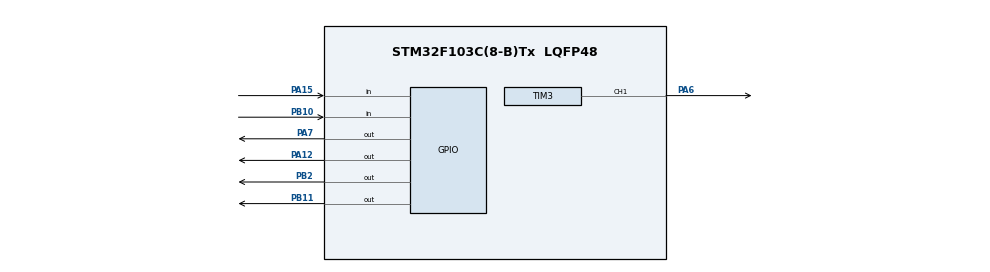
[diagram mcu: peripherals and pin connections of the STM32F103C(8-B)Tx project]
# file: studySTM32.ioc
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Mcu.Family=STM32F1
Mcu.Name=STM32F103C(8-B)Tx
Mcu.Package=LQFP48
NVIC.PriorityGroup=NVIC_PRIORITYGROUP_4
NVIC.TIM2_IRQn=true\:0\:0\:false\:false\:true\:true\:true\:true
PA12.Signal=GPIO_Output
PA13.Mode=Serial_Wire
PA13.Signal=SYS_JTMS-SWDIO
PA14.Mode=Serial_Wire
PA14.Signal=SYS_JTCK-SWCLK
PA15.GPIO_PuPd=GPIO_NOPULL
PA15.Signal=GPIO_Input
PA6.Signal=S_TIM3_CH1
PA7.Signal=GPIO_Output
PB10.Signal=GPIO_Input
PB11.Signal=GPIO_Output
PB2.Signal=GPIO_Output
ProjectManager.HeapSize=0x200
ProjectManager.StackSize=0x400
ProjectManager.TargetToolchain=STM32CubeIDE
RCC.APB1Freq_Value=8000000
RCC.APB2Freq_Value=8000000
SH.S_TIM3_CH1.0=TIM3_CH1,PWM Generation1 CH1
TIM1.AutoReloadPreload=TIM_AUTORELOAD_PRELOAD_ENABLE
TIM1.Prescaler=7
TIM2.AutoReloadPreload=TIM_AUTORELOAD_PRELOAD_ENABLE
TIM2.Period=499
TIM2.Prescaler=7999
TIM3.AutoReloadPreload=TIM_AUTORELOAD_PRELOAD_ENABLE
TIM3.Channel-PWM\ Generation1\ CH1=TIM_CHANNEL_1
TIM3.Period=999
TIM3.Prescaler=7
TIM3.Pulse-PWM\ Generation1\ CH1=500
VP_TIM1_VS_ClockSourceINT.Mode=Internal
VP_TIM2_VS_ClockSourceINT.Mode=Internal
board=custom

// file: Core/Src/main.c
/* USER CODE BEGIN Header */
/**
  ******************************************************************************
  * @file           : main.c
  * @brief          : Main program body
  ******************************************************************************
  * @attention
  *
  * Copyright (c) 2026 STMicroelectronics.
  * All rights reserved.
  *
  * This software is licensed under terms that can be found in the LICENSE file
  * in the root directory of this software component.
  * If no LICENSE file comes with this software, it is provided AS-IS.
  *
  ******************************************************************************
  */
/* USER CODE END Header */
#include "main.h"

/* USER CODE BEGIN PTD */
typedef struct
{
	GPIO_TypeDef *port;
	uint16_t pin;

	uint8_t stable;
	uint8_t last_read;
	uint32_t last_change_time;
	uint8_t pressed_event;
}Button;

typedef struct
{
    uint16_t frequency;
    uint16_t duration;
} Note;
/* USER CODE END PTD */

/* USER CODE BEGIN PD */
#define REST 0
#define NOTE_COUNT (sizeof(melody) / sizeof(melody[0]))

/* Tan so (Hz) */
#define NOTE_C4  262
#define NOTE_CS4 277
#define NOTE_D4  294
#define NOTE_DS4 311
#define NOTE_E4  330
#define NOTE_F4  349
#define NOTE_FS4 370
#define NOTE_G4  392
#define NOTE_GS4 415
#define NOTE_A4  440
#define NOTE_AS4 466
#define NOTE_B4  494
#define NOTE_C5  523
#define NOTE_CS5 554
#define NOTE_D5  587
#define NOTE_DS5 622
#define NOTE_E5  659
#define NOTE_F5  698
#define NOTE_FS5 740
#define NOTE_G5  784
#define NOTE_GS5 831
#define NOTE_A5  880
#define NOTE_AS5 932
#define NOTE_B5  988

/* Do dai not theo BPM */
#define BPM            140
#define BEAT_MS        (60000 / BPM)
#define DUR_WHOLE      (BEAT_MS * 4)
#define DUR_HALF       (BEAT_MS * 2)
#define DUR_QUARTER    (BEAT_MS)
#define DUR_EIGHTH     (BEAT_MS / 2)
#define DUR_SIXTEENTH  (BEAT_MS / 4)

/* He so keo dai thoi gian: 1 = nguyen goc, 2 = cham gap doi */
#define SLOW 2
/* USER CODE END PD */

TIM_HandleTypeDef htim1;
TIM_HandleTypeDef htim2;
TIM_HandleTypeDef htim3;

/* USER CODE BEGIN PV */
Button btn1 = {
		.port = BTN1_PORT,
		.pin = BTN1_PIN,
		.stable = 1,
		.last_read =1,
		.last_change_time =0,
		.pressed_event =0

};

Button btn2 = {
		.port = BTN2_PORT,
		.pin = BTN2_PIN,
		.stable = 1,
		.last_read =1,
		.last_change_time =0,
		.pressed_event =0

};

Note melody [] =
{
		    {NOTE_E4, 300},
		    {NOTE_G4, 300},
		    {NOTE_A4, 600},
		    {REST,    200},

		    {NOTE_G4, 300},
		    {NOTE_E4, 300},
		    {NOTE_D4, 600},
		    {REST,    300},

		    {NOTE_E4, 300},
		    {NOTE_G4, 300},
		    {NOTE_C5, 800},
		    {REST,    500}};

/* USER CODE END PV */

void SystemClock_Config(void);
static void MX_GPIO_Init(void);
static void MX_TIM2_Init(void);
static void MX_TIM1_Init(void);
static void MX_TIM3_Init(void);
/* USER CODE BEGIN PFP */
void Button_Update(Button *btn);
void delay_us(uint16_t time);
void Buzzer_PlayNote(uint16_t frequency);
void Melody_Task(void);
/* USER CODE END PFP */

int main(void)
{

  /* MCU Configuration--------------------------------------------------------*/

  /* Reset of all peripherals, Initializes the Flash interface and the Systick. */
  HAL_Init();

  /* Configure the system clock */
  SystemClock_Config();

  /* Initialize all configured peripherals */
  MX_GPIO_Init();
  MX_TIM2_Init();
  MX_TIM1_Init();
  MX_TIM3_Init();
  /* USER CODE BEGIN 2 */
  HAL_TIM_Base_Start (&htim1);
  HAL_TIM_Base_Start_IT (&htim2);
  HAL_TIM_PWM_Start(&htim3, TIM_CHANNEL_1);
  /* USER CODE END 2 */

  /* Infinite loop */
  while (1)
  {

    /* USER CODE BEGIN 3 */
	Button_Update (&btn1);
	Button_Update (&btn2);
    if (btn1.pressed_event)
    {
    	HAL_GPIO_TogglePin (LED1_PORT, LED1_PIN);
    }

    if (btn2.pressed_event)
    {
    	HAL_GPIO_TogglePin (LED2_PORT, LED2_PIN);
    }

    Melody_Task();
/*
    HAL_GPIO_WritePin (LEDT1_PORT, LEDT1_PIN, GPIO_PIN_SET );
    delay_us (50000);
    HAL_GPIO_WritePin (LEDT1_PORT, LEDT1_PIN, GPIO_PIN_RESET);
    delay_us (50000);
*/

  }
  /* USER CODE END 3 */
}

void SystemClock_Config(void)
{
  RCC_OscInitTypeDef RCC_OscInitStruct = {0};
  RCC_ClkInitTypeDef RCC_ClkInitStruct = {0};

  /** Initializes the RCC Oscillators according to the specified parameters
  * in the RCC_OscInitTypeDef structure.
  */
  RCC_OscInitStruct.OscillatorType = RCC_OSCILLATORTYPE_HSI;
  RCC_OscInitStruct.HSIState = RCC_HSI_ON;
  RCC_OscInitStruct.HSICalibrationValue = RCC_HSICALIBRATION_DEFAULT;
  RCC_OscInitStruct.PLL.PLLState = RCC_PLL_NONE;
  if (HAL_RCC_OscConfig(&RCC_OscInitStruct) != HAL_OK)
  {
    Error_Handler();
  }

  /** Initializes the CPU, AHB and APB buses clocks
  */
  RCC_ClkInitStruct.ClockType = RCC_CLOCKTYPE_HCLK|RCC_CLOCKTYPE_SYSCLK
                              |RCC_CLOCKTYPE_PCLK1|RCC_CLOCKTYPE_PCLK2;
  RCC_ClkInitStruct.SYSCLKSource = RCC_SYSCLKSOURCE_HSI;
  RCC_ClkInitStruct.AHBCLKDivider = RCC_SYSCLK_DIV1;
  RCC_ClkInitStruct.APB1CLKDivider = RCC_HCLK_DIV1;
  RCC_ClkInitStruct.APB2CLKDivider = RCC_HCLK_DIV1;

  if (HAL_RCC_ClockConfig(&RCC_ClkInitStruct, FLASH_LATENCY_0) != HAL_OK)
  {
    Error_Handler();
  }
}

static void MX_TIM1_Init(void)
{

  TIM_ClockConfigTypeDef sClockSourceConfig = {0};
  TIM_MasterConfigTypeDef sMasterConfig = {0};

  htim1.Instance = TIM1;
  htim1.Init.Prescaler = 7;
  htim1.Init.CounterMode = TIM_COUNTERMODE_UP;
  htim1.Init.Period = 65535;
  htim1.Init.ClockDivision = TIM_CLOCKDIVISION_DIV1;
  htim1.Init.RepetitionCounter = 0;
  htim1.Init.AutoReloadPreload = TIM_AUTORELOAD_PRELOAD_ENABLE;
  if (HAL_TIM_Base_Init(&htim1) != HAL_OK)
  {
    Error_Handler();
  }
  sClockSourceConfig.ClockSource = TIM_CLOCKSOURCE_INTERNAL;
  if (HAL_TIM_ConfigClockSource(&htim1, &sClockSourceConfig) != HAL_OK)
  {
    Error_Handler();
  }
  sMasterConfig.MasterOutputTrigger = TIM_TRGO_RESET;
  sMasterConfig.MasterSlaveMode = TIM_MASTERSLAVEMODE_DISABLE;
  if (HAL_TIMEx_MasterConfigSynchronization(&htim1, &sMasterConfig) != HAL_OK)
  {
    Error_Handler();
  }

}

static void MX_TIM2_Init(void)
{

  TIM_ClockConfigTypeDef sClockSourceConfig = {0};
  TIM_MasterConfigTypeDef sMasterConfig = {0};

  htim2.Instance = TIM2;
  htim2.Init.Prescaler = 7999;
  htim2.Init.CounterMode = TIM_COUNTERMODE_UP;
  htim2.Init.Period = 499;
  htim2.Init.ClockDivision = TIM_CLOCKDIVISION_DIV1;
  htim2.Init.AutoReloadPreload = TIM_AUTORELOAD_PRELOAD_ENABLE;
  if (HAL_TIM_Base_Init(&htim2) != HAL_OK)
  {
    Error_Handler();
  }
  sClockSourceConfig.ClockSource = TIM_CLOCKSOURCE_INTERNAL;
  if (HAL_TIM_ConfigClockSource(&htim2, &sClockSourceConfig) != HAL_OK)
  {
    Error_Handler();
  }
  sMasterConfig.MasterOutputTrigger = TIM_TRGO_RESET;
  sMasterConfig.MasterSlaveMode = TIM_MASTERSLAVEMODE_DISABLE;
  if (HAL_TIMEx_MasterConfigSynchronization(&htim2, &sMasterConfig) != HAL_OK)
  {
    Error_Handler();
  }

}

static void MX_TIM3_Init(void)
{

  TIM_MasterConfigTypeDef sMasterConfig = {0};
  TIM_OC_InitTypeDef sConfigOC = {0};

  htim3.Instance = TIM3;
  htim3.Init.Prescaler = 7;
  htim3.Init.CounterMode = TIM_COUNTERMODE_UP;
  htim3.Init.Period = 999;
  htim3.Init.ClockDivision = TIM_CLOCKDIVISION_DIV1;
  htim3.Init.AutoReloadPreload = TIM_AUTORELOAD_PRELOAD_ENABLE;
  if (HAL_TIM_PWM_Init(&htim3) != HAL_OK)
  {
    Error_Handler();
  }
  sMasterConfig.MasterOutputTrigger = TIM_TRGO_RESET;
  sMasterConfig.MasterSlaveMode = TIM_MASTERSLAVEMODE_DISABLE;
  if (HAL_TIMEx_MasterConfigSynchronization(&htim3, &sMasterConfig) != HAL_OK)
  {
    Error_Handler();
  }
  sConfigOC.OCMode = TIM_OCMODE_PWM1;
  sConfigOC.Pulse = 500;
  sConfigOC.OCPolarity = TIM_OCPOLARITY_HIGH;
  sConfigOC.OCFastMode = TIM_OCFAST_DISABLE;
  if (HAL_TIM_PWM_ConfigChannel(&htim3, &sConfigOC, TIM_CHANNEL_1) != HAL_OK)
  {
    Error_Handler();
  }
  HAL_TIM_MspPostInit(&htim3);

}

static void MX_GPIO_Init(void)
{
  GPIO_InitTypeDef GPIO_InitStruct = {0};

  /* GPIO Ports Clock Enable */
  __HAL_RCC_GPIOA_CLK_ENABLE();
  __HAL_RCC_GPIOB_CLK_ENABLE();

  /*Configure GPIO pin Output Level */
  HAL_GPIO_WritePin(GPIOA, GPIO_PIN_7|GPIO_PIN_12, GPIO_PIN_RESET);

  /*Configure GPIO pin Output Level */
  HAL_GPIO_WritePin(GPIOB, GPIO_PIN_2|GPIO_PIN_11, GPIO_PIN_RESET);

  /*Configure GPIO pins : PA7 PA12 */
  GPIO_InitStruct.Pin = GPIO_PIN_7|GPIO_PIN_12;
  GPIO_InitStruct.Mode = GPIO_MODE_OUTPUT_PP;
  GPIO_InitStruct.Pull = GPIO_NOPULL;
  GPIO_InitStruct.Speed = GPIO_SPEED_FREQ_LOW;
  HAL_GPIO_Init(GPIOA, &GPIO_InitStruct);

  /*Configure GPIO pins : PB2 PB11 */
  GPIO_InitStruct.Pin = GPIO_PIN_2|GPIO_PIN_11;
  GPIO_InitStruct.Mode = GPIO_MODE_OUTPUT_PP;
  GPIO_InitStruct.Pull = GPIO_NOPULL;
  GPIO_InitStruct.Speed = GPIO_SPEED_FREQ_LOW;
  HAL_GPIO_Init(GPIOB, &GPIO_InitStruct);

  /*Configure GPIO pin : PB10 */
  GPIO_InitStruct.Pin = GPIO_PIN_10;
  GPIO_InitStruct.Mode = GPIO_MODE_INPUT;
  GPIO_InitStruct.Pull = GPIO_NOPULL;
  HAL_GPIO_Init(GPIOB, &GPIO_InitStruct);

  /*Configure GPIO pin : PA15 */
  GPIO_InitStruct.Pin = GPIO_PIN_15;
  GPIO_InitStruct.Mode = GPIO_MODE_INPUT;
  GPIO_InitStruct.Pull = GPIO_NOPULL;
  HAL_GPIO_Init(GPIOA, &GPIO_InitStruct);

}

/* USER CODE BEGIN 4 */
void Button_Update (Button *btn)
{
	uint8_t reading = HAL_GPIO_ReadPin (btn->port, btn->pin);
	btn->pressed_event =0;

	if (reading != btn->last_read)
	{
		btn->last_change_time = HAL_GetTick();
	}

	if (HAL_GetTick() - btn->last_change_time >20)
	{
		if (btn->stable != reading)
		{
			btn->stable = reading;
			if (btn->stable == 0)
			{
				btn->pressed_event=1;
			}
		}
	}
	btn->last_read = reading;
}

void HAL_TIM_PeriodElapsedCallback (TIM_HandleTypeDef *htim)
{
	if (htim->Instance == TIM2)
	{
		HAL_GPIO_TogglePin (LEDT2_PORT, LEDT2_PIN);
	}
}

void delay_us (uint16_t time)
{
	__HAL_TIM_SET_COUNTER(&htim1,0);
	while (__HAL_TIM_GET_COUNTER(&htim1) < time);
}

void Buzzer_PlayNote(uint16_t frequency)
{
    if (frequency == REST)
    {
        __HAL_TIM_SET_COMPARE(&htim3, TIM_CHANNEL_1, 0);
        return;
    }

    // TIM3 counter clock = 1 MHz
    uint32_t arr = 1000000UL / frequency - 1;

    __HAL_TIM_SET_AUTORELOAD(&htim3, arr);
    __HAL_TIM_SET_COMPARE(&htim3, TIM_CHANNEL_1, (arr + 1) *70 / 100);

    // Cap nhat ARR/CCR preload
    htim3.Instance->EGR = TIM_EGR_UG;

    // Dua bo dem ve 0
    __HAL_TIM_SET_COUNTER(&htim3, 0);
}

void Melody_Task(void)
{
	static uint32_t t0 = 0, idx = 0;
	static uint8_t started = 0, in_gap = 0;

	uint32_t now = HAL_GetTick();

	if (!started)
	{
		Buzzer_PlayNote(melody[idx].frequency);
		t0 = now;
		started = 1;
		in_gap = 0;
		return;
	}

	uint32_t dur = (uint32_t)melody[idx].duration * SLOW;
	uint32_t gap = dur / 10;

	if (!in_gap && melody[idx].frequency != REST && (now - t0) >= (dur - gap))
	{
		Buzzer_PlayNote(REST);
		in_gap = 1;
	}

	if ((now - t0) >= dur)
	{
		if (++idx >= NOTE_COUNT) idx = 0;   /* lap lai */
		started = 0;
	}
}
/* USER CODE END 4 */

void Error_Handler(void)
{
  __disable_irq();
  while (1)
  {
  }
}
